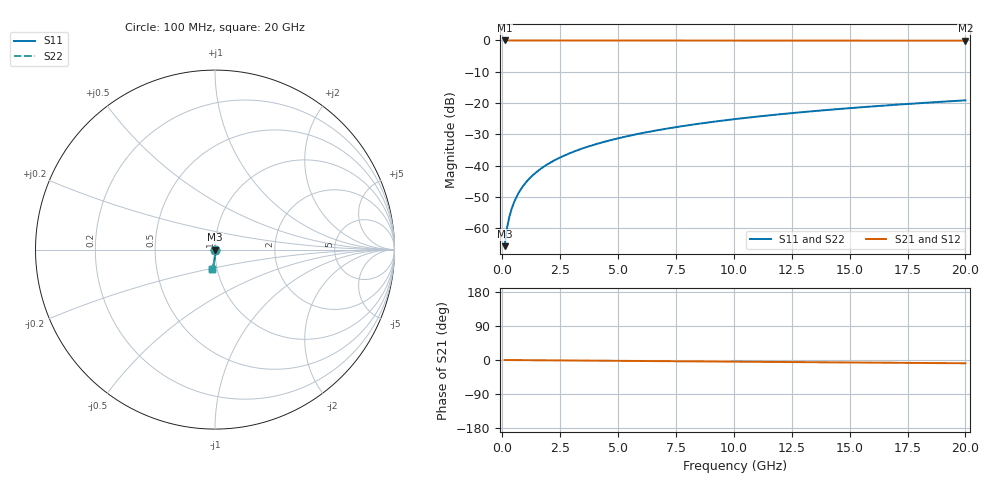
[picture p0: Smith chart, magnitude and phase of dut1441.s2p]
! Touchstone file exported from HFSS 2026.1.0
!  File:  C:/ffzhzh/LocalFiles/Ansys_Project_Files/temp_train_TSV_1441_1783197681_55132.aedt
!  Generated:  04:42:36 AM Jul  5, 2026
!  Design:  TSV
!  Project:  temp_train_TSV_1441_1783197681_55132
! Variables:
!  h_bsmrdl = 2um
!  h_ox = 20um
!  h_rdl = 5um
!  h_sub = 62.87um
!  h_tmrdl = 5um
!  h_tsv = 62.87um
!  h_via = 3um
!  l_bsmrdl = 300um
!  l_sub = 414.5um
!  l_tmrdl = 200um
!  m_sub = 200um
!  pitch = 16.33um
!  r_tsv = 7.25um
!  s_tmrdl = 10um
!  w_bsmrdl = 18um
!  w_sub = 500um
!  w_tmrdl = 12um
!  x_tsv_center1 = 206um
!  x_tsv_center2 = 524um
!  x_tsv_center3 = 736um
!  x_tsv_center4 = 1054um
!  x_tsv_center5 = 1266um
!  x_tsv_center6 = 1584um
# GHz S MA R 50.000000
! Terminal data exported
! Port[1] = TSV1_1_T1
! Port[2] = TSV1_1_T2
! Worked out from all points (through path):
!   200 points, 100 MHz to 20 GHz, reference 50 ohm
!   highest |S21| = 0.00 dB at 100 MHz (marker M1); lowest = -0.1 dB at 20 GHz (marker M2)
!   group delay of S21, straight-line fit = 1.2 ps
!   lowest |S11| = -65.8 dB at 100 MHz (marker M3), VSWR 1.00, Z = 50 - j0.0478 ohm
!   |S11| at or under -10 dB: start of sweep to end of sweep
!   |S22| runs from -65.8 to -19.1 dB; largest |S21 - S12| = 2.5e-15
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0.1  0.0005158 -67.8  0.9998 -0.0  0.9998 -0.0  0.0005158 -67.8
! Gamma 0 0 0 0
! Port Impedance 50 0 50 0
0.2  0.0009917 -76.9  0.9998 -0.1  0.9998 -0.1  0.0009917 -76.9
0.3  0.001494 -79.8  0.9997 -0.1  0.9997 -0.1  0.001494 -79.8
0.4  0.002014 -81.3  0.9997 -0.2  0.9997 -0.2  0.002014 -81.3
0.5  0.002546 -82.3  0.9996 -0.2  0.9996 -0.2  0.002546 -82.3
0.7  0.00363 -83.7  0.9996 -0.3  0.9996 -0.3  0.00363 -83.7
0.8  0.004176 -84.3  0.9995 -0.4  0.9995 -0.4  0.004176 -84.3
1  0.005272 -85.2  0.9995 -0.5  0.9995 -0.5  0.005272 -85.2
1.2  0.006368 -85.9  0.9995 -0.5  0.9995 -0.5  0.006368 -85.9
1.4  0.007464 -86.4  0.9994 -0.6  0.9994 -0.6  0.007464 -86.4
1.7  0.009107 -87.1  0.9994 -0.8  0.9994 -0.8  0.009107 -87.1
2  0.01075 -87.6  0.9993 -0.9  0.9993 -0.9  0.01075 -87.6
2.7  0.01459 -88.4  0.9992 -1.2  0.9992 -1.2  0.01459 -88.4
3.5  0.01899 -89.1  0.999 -1.5  0.999 -1.5  0.01899 -89.1
4.2  0.02286 -89.6  0.9988 -1.9  0.9988 -1.9  0.02286 -89.6
5  0.02729 -90.1  0.9986 -2.2  0.9986 -2.2  0.02729 -90.1
6.8  0.03729 -91.1  0.9981 -3.0  0.9981 -3.0  0.03729 -91.1
8.3  0.04564 -91.9  0.9976 -3.6  0.9976 -3.6  0.04564 -91.9
10.1  0.05566 -92.9  0.997 -4.4  0.997 -4.4  0.05566 -92.9
13.4  0.07399 -94.5  0.9955 -5.8  0.9955 -5.8  0.07399 -94.5
16.7  0.09225 -96.0  0.9938 -7.2  0.9938 -7.2  0.09225 -96.0
20  0.1104 -97.5  0.9917 -8.7  0.9917 -8.7  0.1104 -97.5
